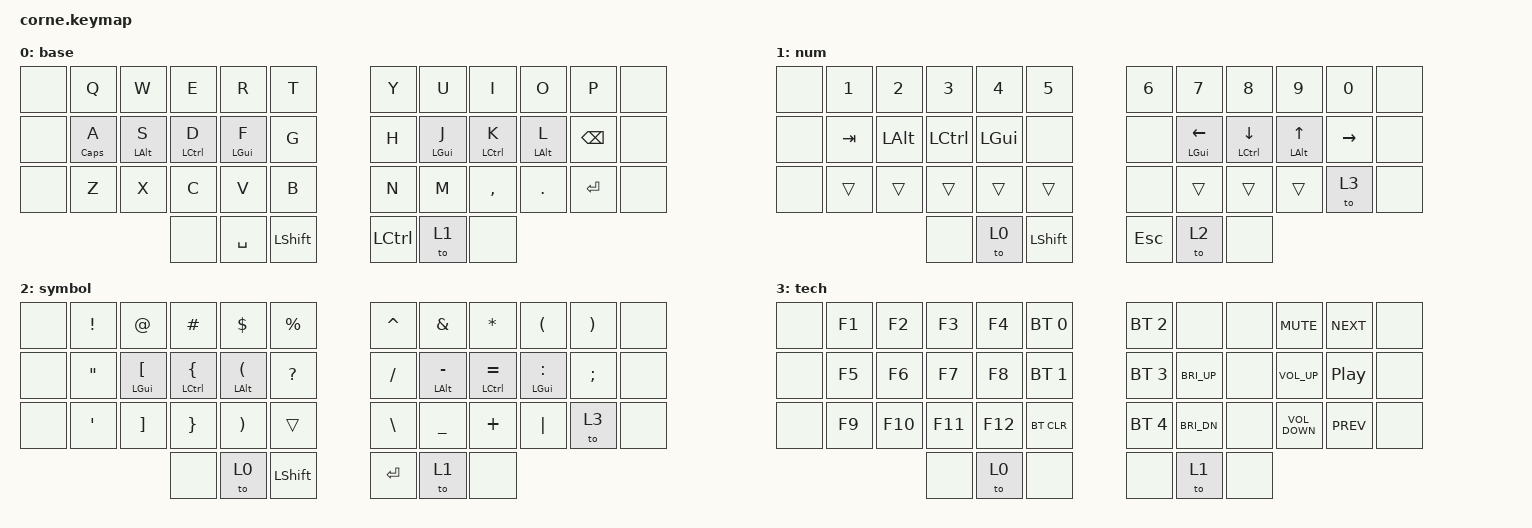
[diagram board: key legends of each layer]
/*
 * Copyright (c) 2020 The ZMK Contributors
 *
 * SPDX-License-Identifier: MIT
 */

#include <behaviors.dtsi>
#include <dt-bindings/zmk/bt.h>
#include <dt-bindings/zmk/keys.h>

/ {
    behaviors {
        hmr: hmr {
            compatible = "zmk,behavior-hold-tap";
            label = "HMR";
            bindings = <&kp>, <&kp>;

            #binding-cells = <2>;
            tapping-term-ms = <220>;
            quick-tap-ms = <175>;
            flavor = "balanced";
            hold-trigger-key-positions = <0 1 2 3 4 5 12 13 14 15 16 17 24 25 26 27 28 29 36 37 38 39 40 41>;
        };

        hml: hml {
            compatible = "zmk,behavior-hold-tap";
            label = "HML";
            bindings = <&kp>, <&kp>;

            #binding-cells = <2>;
            tapping-term-ms = <220>;
            quick-tap-ms = <175>;
            hold-trigger-key-positions = <6 7 8 9 10 11 18 19 20 21 22 23 30 31 32 33 34 35 39 40 41 36 37 38>;
            flavor = "balanced";
        };

        ht: ht {
            compatible = "zmk,behavior-hold-tap";
            label = "HT";
            bindings = <&kp>, <&kp>;

            #binding-cells = <2>;
            tapping-term-ms = <220>;
            quick-tap-ms = <150>;
            flavor = "tap-preferred";
        };
    };

    keymap {
        compatible = "zmk,keymap";

        base {
            // -----------------------------------------------------------------------------------------
            // |  TAB |  Q  |  W  |  E  |  R  |  T  |   |  Y  |  U   |  I  |  O  |  P  | BKSP |
            // | CTRL |  A  |  S  |  D  |  F  |  G  |   |  H  |  J   |  K  |  L  |  ;  |  '   |
            // | SHFT |  Z  |  X  |  C  |  V  |  B  |   |  N  |  M   |  ,  |  .  |  /  | ESC  |
            //                    | GUI | LWR | SPC |   | ENT | RSE  | ALT |

            bindings = <
&none  &kp Q       &kp W       &kp E        &kp R       &kp T        &kp Y      &kp U       &kp I        &kp O       &kp P     &none
&none  &ht CAPS A  &ht LALT S  &ht LCTRL D  &ht LGUI F  &kp G        &kp H      &ht LGUI J  &ht LCTRL K  &ht LALT L  &kp BSPC  &none
&none  &kp Z       &kp X       &kp C        &kp V       &kp B        &kp N      &kp M       &kp COMMA    &kp DOT     &kp RET   &none
                               &none        &kp SPACE   &kp LSHFT    &kp LCTRL  &to 1       &none
            >;
        };

        num {
            // -----------------------------------------------------------------------------------------
            // |  TAB |  1  |  2  |  3  |  4  |  5  |   |  6  |  7  |  8  |  9  |  0  | BKSP |
            // | BTCLR| BT1 | BT2 | BT3 | BT4 | BT5 |   | LFT | DWN |  UP | RGT |     |      |
            // | SHFT |     |     |     |     |     |   |     |     |     |     |     |      |
            //                    | GUI |     | SPC |   | ENT |     | ALT |

            bindings = <
&none  &kp N1   &kp N2    &kp N3     &kp N4    &kp N5            &kp N6   &kp N7         &kp N8                &kp N9             &kp N0     &none
&none  &kp TAB  &kp LALT  &kp LCTRL  &kp LGUI  &none             &none    &ht LGUI LEFT  &ht LCTRL DOWN_ARROW  &ht LALT UP_ARROW  &kp RIGHT  &none
&none  &trans   &trans    &trans     &trans    &trans            &none    &trans         &trans                &trans             &to 3      &none
                          &none      &to 0     &kp LEFT_SHIFT    &kp ESC  &to 2          &none
            >;
        };

        symbol {
            // -----------------------------------------------------------------------------------------
            // |  TAB |  !  |  @  |  #  |  $  |  %  |   |  ^  |  &  |  *  |  (  |  )  | BKSP |
            // | CTRL |     |     |     |     |     |   |  -  |  =  |  [  |  ]  |  \  |  `   |
            // | SHFT |     |     |     |     |     |   |  _  |  +  |  {  |  }  | "|" |  ~   |
            //                    | GUI |     | SPC |   | ENT |     | ALT |

            bindings = <
&none  &kp EXCL  &kp AT         &kp HASH        &kp DLLR           &kp PRCNT    &kp CARET  &kp AMPS        &kp ASTRK        &kp LPAR        &kp RPAR  &none
&none  &kp DQT   &ht LGUI LBKT  &ht LCTRL LBRC  &ht LEFT_ALT LPAR  &kp QMARK    &kp FSLH   &ht LALT MINUS  &ht LCTRL EQUAL  &ht LGUI COLON  &kp SEMI  &none
&none  &kp SQT   &kp RBKT       &kp RBRC        &kp RPAR           &trans       &kp BSLH   &kp UNDER       &kp PLUS         &kp PIPE        &to 3     &none
                                &none           &to 0              &kp LSHFT    &kp RET    &to 1           &none
            >;
        };

        tech {
            bindings = <
&none  &kp F1  &kp F2   &kp F3   &kp F4   &bt BT_SEL 0    &bt BT_SEL 2  &none         &none  &kp K_MUTE         &kp C_NEXT  &none
&none  &kp F5  &kp F6   &kp F7   &kp F8   &bt BT_SEL 1    &bt BT_SEL 3  &kp C_BRI_UP  &none  &kp C_VOL_UP       &kp C_PP    &none
&none  &kp F9  &kp F10  &kp F11  &kp F12  &bt BT_CLR      &bt BT_SEL 4  &kp C_BRI_DN  &none  &kp C_VOLUME_DOWN  &kp C_PREV  &none
                        &none    &to 0    &none           &none         &to 1         &none
            >;
        };
    };
};
